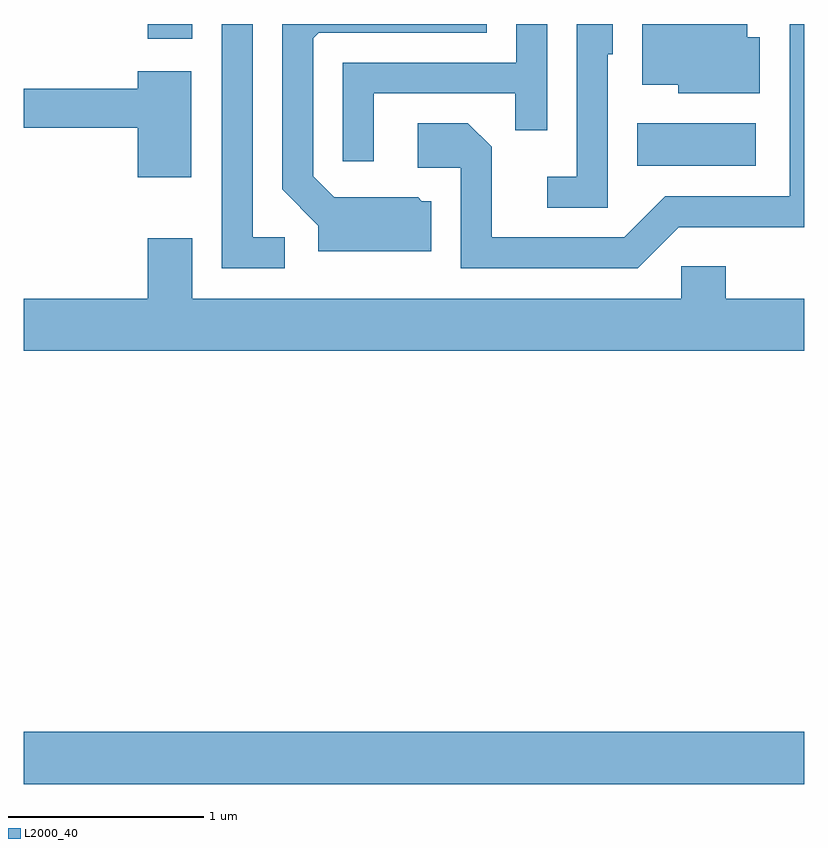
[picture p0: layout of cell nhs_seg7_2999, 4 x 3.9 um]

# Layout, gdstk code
import gdstk
lib = gdstk.Library(unit=1e-6, precision=1e-09)
def R(c, l, rs):  # rectangles x0, y0, x1, y1
    for r in rs: c.add(gdstk.rectangle(r[:2], r[2:], *l))
def P(c, l, *ps):  # polygons
    for p in ps: c.add(gdstk.Polygon(p, *l))
L2000_40 = (2000, 40)

nhs_seg7_2999 = lib.new_cell('nhs_seg7_2999')
R(nhs_seg7_2999, L2000_40, [(277.611,1674.356,281.611,1674.624), (280.756,1677.526,281.364,1677.744), (278.246,1678.176,278.474,1678.252)])
P(nhs_seg7_2999, L2000_40, [(280.967,1677.211),(281.611,1677.211),(281.611,1678.252),(281.536,1678.252),(281.536,1677.369),(280.899,1677.369),(280.689,1677.159),(280.009,1677.159),(280.009,1677.622),(279.887,1677.744),(279.631,1677.744),(279.631,1677.516),(279.851,1677.516),(279.851,1677.001),(280.757,1677.001)],
  [(279.699,1677.344),(279.652,1677.344),(279.632,1677.364),(279.202,1677.364),(279.094,1677.472),(279.094,1678.179),(279.122,1678.206),(279.984,1678.206),(279.984,1678.252),(278.936,1678.252),(278.936,1677.404),(279.121,1677.219),(279.121,1677.086),(279.699,1677.086)],
  [(280.604,1678.096),(280.629,1678.096),(280.629,1678.252),(280.446,1678.252),(280.446,1677.469),(280.293,1677.469),(280.293,1677.311),(280.604,1677.311)],
  [(279.404,1677.896),(280.131,1677.896),(280.131,1677.708),(280.294,1677.708),(280.294,1678.252),(280.136,1678.252),(280.136,1678.054),(279.246,1678.054),(279.246,1677.548),(279.404,1677.548)],
  [(281.384,1678.184),(281.319,1678.184),(281.319,1678.252),(280.781,1678.252),(280.781,1677.941),(280.966,1677.941),(280.966,1677.896),(281.384,1677.896)],
  [(278.948,1677.159),(278.784,1677.159),(278.784,1678.252),(278.626,1678.252),(278.626,1677.001),(278.948,1677.001)],
  [(278.469,1678.009),(278.196,1678.009),(278.196,1677.919),(277.611,1677.919),(277.611,1677.721),(278.196,1677.721),(278.196,1677.466),(278.469,1677.466)],
  [(281.611,1676.844),(281.209,1676.844),(281.209,1677.009),(280.981,1677.009),(280.981,1676.844),(278.474,1676.844),(278.474,1677.154),(278.246,1677.154),(278.246,1676.844),(277.611,1676.844),(277.611,1676.576),(281.611,1676.576)])

lib.write_gds('nhs_seg7_2999.gds')
